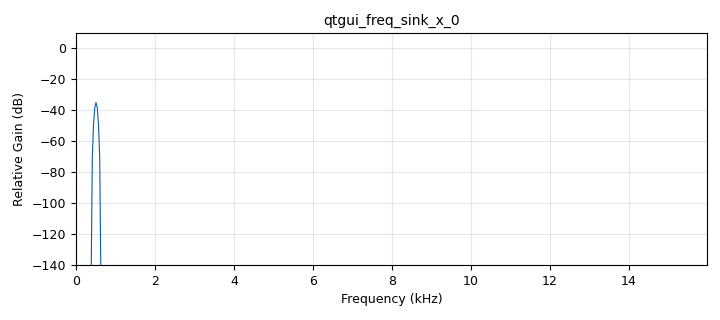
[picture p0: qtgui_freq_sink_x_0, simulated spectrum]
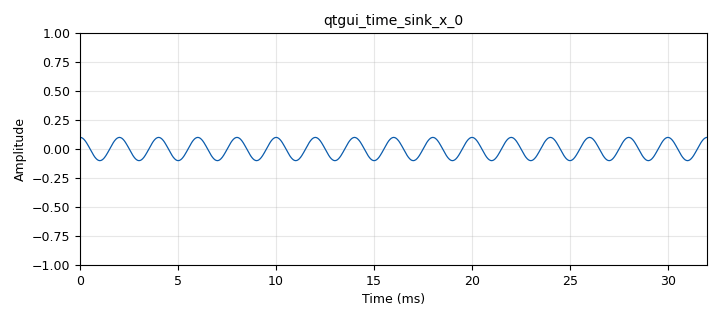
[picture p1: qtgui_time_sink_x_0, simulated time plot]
options:
  parameters:
    generate_options: qt_gui
    id: single_audio_tone_fft
    output_language: python
    title: single audio tone fft
  states: {}

blocks:
- name: Freq
  id: variable_qtgui_entry
  parameters:
    type: real
    value: '500'
  states: {}
- name: samp_rate
  id: variable
  parameters:
    value: '32000'
  states: {}
- name: analog_sig_source_x_0
  id: analog_sig_source_x
  parameters:
    amp: '0.1'
    freq: Freq
    offset: '0'
    phase: '0'
    samp_rate: samp_rate
    type: float
    waveform: analog.GR_COS_WAVE
  states: {}
- name: audio_sink_0
  id: audio_sink
  parameters:
    samp_rate: samp_rate
  states: {}
- name: qtgui_freq_sink_x_0
  id: qtgui_freq_sink_x
  parameters:
    bw: samp_rate
    fc: '0'
    fftsize: '1024'
    freqhalf: 'False'
    type: float
  states: {}
- name: qtgui_time_sink_x_0
  id: qtgui_time_sink_x
  parameters:
    size: '1024'
    srate: samp_rate
    type: float
  states: {}

connections:
- [analog_sig_source_x_0, '0', audio_sink_0, '0']
- [analog_sig_source_x_0, '0', qtgui_freq_sink_x_0, '0']
- [analog_sig_source_x_0, '0', qtgui_time_sink_x_0, '0']

metadata:
  file_format: 1
  grc_version: 3.10.5.1
